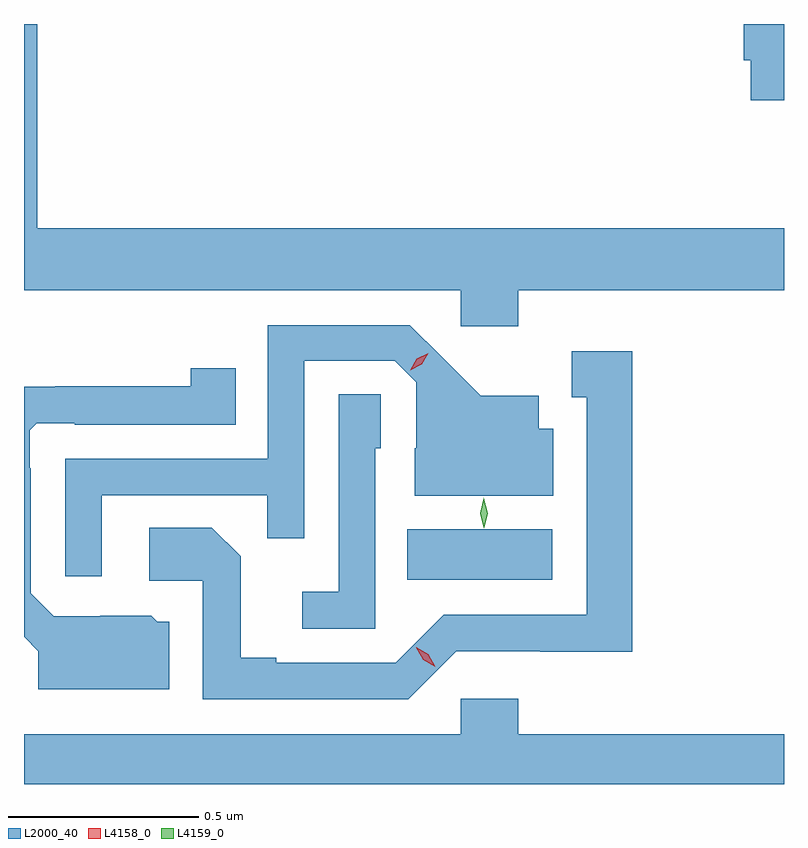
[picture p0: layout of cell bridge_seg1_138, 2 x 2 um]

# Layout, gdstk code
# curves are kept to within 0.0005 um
import gdstk
lib = gdstk.Library(unit=1e-6, precision=1e-09)
def R(c, l, rs):  # rectangles x0, y0, x1, y1
    for r in rs: c.add(gdstk.rectangle(r[:2], r[2:], *l))
def P(c, l, *ps):  # polygons
    for p in ps: c.add(gdstk.Polygon(p, *l))
L2000_40 = (2000, 40)
L4158_0 = (4158, 0)
L4159_0 = (4159, 0)

bridge_seg1_138 = lib.new_cell('bridge_seg1_138')
R(bridge_seg1_138, L2000_40, [(373.576,574.946,373.957,575.08)])
P(bridge_seg1_138, L2000_40, [(373.868,575.708),(374.567,575.708),(374.567,575.872),(372.602,575.872),(372.602,576.409),(372.567,576.409),(372.567,575.708),(373.716,575.708),(373.716,575.613),(373.868,575.613)],
  [(374.567,576.409),(374.461,576.409),(374.461,576.313),(374.48,576.313),(374.48,576.209),(374.567,576.209)],
  [(372.771,575.169),(373.207,575.169),(373.207,575.056),(373.305,575.056),(373.305,575.523),(373.542,575.523),(373.599,575.466),(373.599,575.292),(373.595,575.292),(373.595,575.168),(373.96,575.168),(373.96,575.344),(373.921,575.344),(373.921,575.431),(373.769,575.431),(373.582,575.616),(373.209,575.616),(373.209,575.265),(372.675,575.265),(372.675,574.956),(372.771,574.956)],
  [(373.704,574.758),(373.926,574.758),(373.926,574.757),(374.167,574.757),(374.167,575.548),(374.009,575.548),(374.009,575.427),(374.048,575.427),(374.048,574.854),(373.671,574.854),(373.545,574.728),(373.231,574.728),(373.231,574.741),(373.137,574.741),(373.137,575.008),(373.061,575.084),(372.897,575.084),(372.897,574.944),(373.038,574.944),(373.038,574.632),(373.578,574.632)],
  [(372.949,574.836),(372.918,574.836),(372.902,574.852),(372.768,574.852),(372.768,574.851),(372.645,574.851),(372.585,574.911),(372.585,575.24),(372.582,575.24),(372.582,575.34),(372.6,575.358),(372.7,575.358),(372.7,575.355),(373.124,575.355),(373.124,575.503),(373.006,575.503),(373.006,575.456),(372.649,575.456),(372.649,575.455),(372.567,575.455),(372.567,574.796),(372.605,574.758),(372.605,574.658),(372.949,574.658)],
  [(373.491,575.292),(373.506,575.292),(373.506,575.435),(373.395,575.435),(373.395,574.915),(373.299,574.915),(373.299,574.818),(373.491,574.818)],
  [(374.567,574.54),(373.868,574.54),(373.868,574.633),(373.716,574.633),(373.716,574.54),(372.567,574.54),(372.567,574.409),(374.567,574.409)])
P(bridge_seg1_138, L4158_0, [(373.649,574.717),(373.617,574.736),(373.599,574.768),(373.599,574.769),(373.599,574.769),(373.631,574.75),(373.649,574.718),(373.649,574.717)],
  [(373.583,575.498),(373.583,575.498),(373.6,575.528),(373.631,575.543),(373.631,575.543),(373.631,575.543),(373.614,575.513),(373.584,575.498)])
P(bridge_seg1_138, L4159_0, [(373.777,575.083),(373.777,575.083),(373.767,575.122),(373.777,575.161),(373.777,575.162),(373.777,575.161),(373.787,575.122),(373.778,575.083)])

lib.write_gds('bridge_seg1_138.gds')
